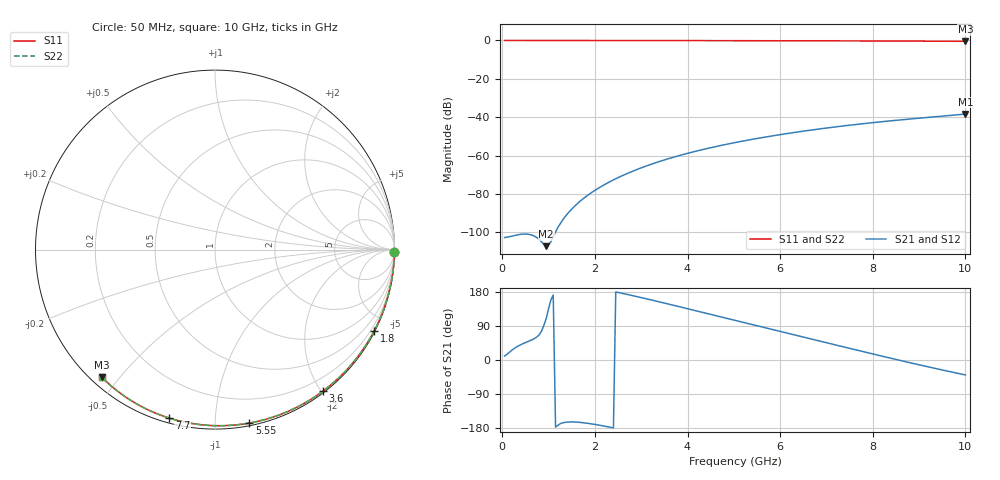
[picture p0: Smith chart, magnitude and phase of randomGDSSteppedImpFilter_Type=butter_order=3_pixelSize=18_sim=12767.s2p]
! freq	dB(S11)	phase(S11)	dB(S12)	phase(S12)
!  dB(S21)	phase(S21)	dB(S22)	phase(S22)
!S-par simulation data
#  GHz  S  DB  R 50
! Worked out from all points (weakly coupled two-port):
!   200 points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, 50 MHz to 10 GHz, reference 50 ohm
!   highest |S21| = -38.37 dB at 10 GHz (marker M1); lowest = -107.2 dB at 950 MHz (marker M2)
!   lowest |S11| = -0.4 dB at 10 GHz (marker M3), VSWR 39.51, Z = 1.52 - j22.5 ohm
!   |S11| at or under -10 dB: nowhere
!   |S22| runs from -0.4 to 0.0 dB; largest |S21 - S12| = 0
!   S11 on the Smith chart (normalised r, x): 50 MHz: open; 1.8 GHz: 0.04, -4.17; 3.6 GHz: 0.02, -2.02; 5.55 GHz: 0.02, -1.22; 7.7 GHz: 0.02, -0.76; 10 GHz: 0.03, -0.45
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0.05  -0.00 -0.8  -102.68 10.4  -102.68 10.4  -0.00 -0.8
0.5  -0.01 -7.6  -100.86 46.0  -100.86 46.0  -0.01 -7.6
0.95  -0.02 -14.4  -107.19 110.1  -107.19 110.1  -0.02 -14.4
1.75  -0.03 -26.2  -82.39 -165.6  -82.39 -165.6  -0.03 -26.2
1.8  -0.03 -27.0  -81.45 -166.3  -81.45 -166.3  -0.03 -27.0
1.85  -0.04 -27.7  -80.57 -167.1  -80.57 -167.1  -0.04 -27.7
1.9  -0.04 -28.5  -79.71 -168.0  -79.71 -168.0  -0.04 -28.5
2.05  -0.04 -30.6  -77.34 -171.0  -77.34 -171.0  -0.04 -30.6
2.25  -0.04 -33.6  -74.54 -175.5  -74.54 -175.5  -0.04 -33.6
2.65  -0.05 -39.3  -69.81 174.3  -69.81 174.3  -0.05 -39.3
3  -0.06 -44.3  -66.38 164.7  -66.38 164.7  -0.06 -44.3
3.4  -0.07 -50.0  -63.02 153.2  -63.02 153.2  -0.07 -50.0
3.6  -0.07 -52.8  -61.52 147.3  -61.52 147.3  -0.07 -52.8
4.3  -0.09 -62.3  -57.00 126.4  -57.00 126.4  -0.09 -62.3
5.05  -0.11 -72.3  -53.09 103.9  -53.09 103.9  -0.11 -72.3
5.55  -0.13 -78.8  -50.87 88.9  -50.87 88.9  -0.13 -78.8
6.1  -0.15 -85.8  -48.69 72.5  -48.69 72.5  -0.15 -85.8
6.7  -0.18 -93.2  -46.59 54.6  -46.59 54.6  -0.18 -93.2
7.7  -0.24 -105.2  -43.60 24.8  -43.60 24.8  -0.24 -105.2
8.35  -0.29 -112.8  -41.96 5.8  -41.96 5.8  -0.29 -112.8
9.15  -0.36 -122.0  -40.18 -16.8  -40.18 -16.8  -0.36 -122.0
10  -0.44 -131.6  -38.37 -39.5  -38.37 -39.5  -0.44 -131.6
